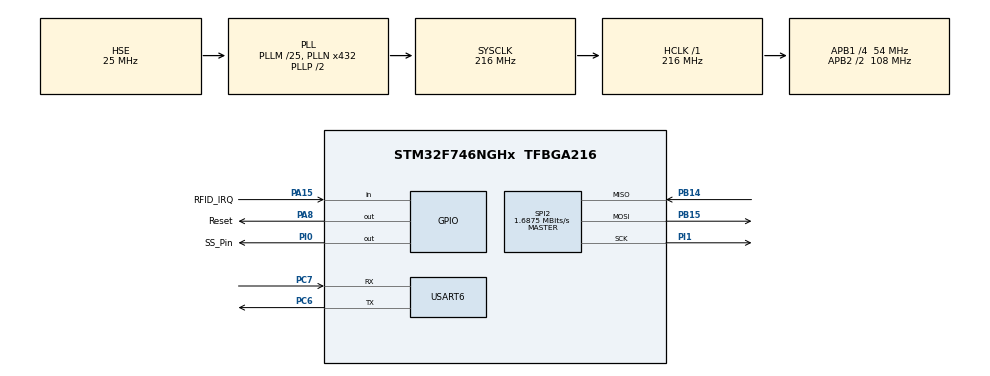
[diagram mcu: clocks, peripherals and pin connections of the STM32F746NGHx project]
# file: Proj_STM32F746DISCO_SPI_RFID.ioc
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Dma.Request0=USART6_RX
Dma.USART6_RX.0.Direction=DMA_PERIPH_TO_MEMORY
Dma.USART6_RX.0.FIFOMode=DMA_FIFOMODE_DISABLE
Dma.USART6_RX.0.Instance=DMA2_Stream1
Dma.USART6_RX.0.MemDataAlignment=DMA_MDATAALIGN_WORD
Dma.USART6_RX.0.MemInc=DMA_MINC_ENABLE
Dma.USART6_RX.0.Mode=DMA_NORMAL
Dma.USART6_RX.0.PeriphDataAlignment=DMA_PDATAALIGN_WORD
Dma.USART6_RX.0.PeriphInc=DMA_PINC_DISABLE
Dma.USART6_RX.0.Priority=DMA_PRIORITY_LOW
Mcu.Family=STM32F7
Mcu.Name=STM32F746NGHx
Mcu.Package=TFBGA216
NVIC.DMA2_Stream1_IRQn=true\:0\:0\:false\:false\:true\:false\:true\:true
NVIC.PriorityGroup=NVIC_PRIORITYGROUP_4
NVIC.USART6_IRQn=true\:0\:0\:false\:false\:true\:true\:true\:true
PA13.Mode=Serial_Wire
PA13.Signal=SYS_JTMS-SWDIO
PA14.Mode=Serial_Wire
PA14.Signal=SYS_JTCK-SWCLK
PA15.GPIO_Label=RFID_IRQ
PA15.Signal=GPIO_Input
PA8.GPIO_Label=Reset
PA8.Signal=GPIO_Output
PB14.Mode=Full_Duplex_Master
PB14.Signal=SPI2_MISO
PB15.Mode=Full_Duplex_Master
PB15.Signal=SPI2_MOSI
PC6.Mode=Asynchronous
PC6.Signal=USART6_TX
PC7.Mode=Asynchronous
PC7.Signal=USART6_RX
PH0/OSC_IN.Mode=HSE-External-Oscillator
PH0/OSC_IN.Signal=RCC_OSC_IN
PH1/OSC_OUT.Mode=HSE-External-Oscillator
PH1/OSC_OUT.Signal=RCC_OSC_OUT
PI0.GPIO_Label=SS_Pin
PI0.Signal=GPIO_Output
PI1.Mode=Full_Duplex_Master
PI1.Signal=SPI2_SCK
ProjectManager.HeapSize=0x200
ProjectManager.StackSize=0x400
ProjectManager.TargetToolchain=STM32CubeIDE
RCC.AHBFreq_Value=216000000
RCC.APB1CLKDivider=RCC_HCLK_DIV4
RCC.APB1Freq_Value=54000000
RCC.APB1TimFreq_Value=108000000
RCC.APB2CLKDivider=RCC_HCLK_DIV2
RCC.APB2Freq_Value=108000000
RCC.APB2TimFreq_Value=216000000
RCC.CortexFreq_Value=216000000
RCC.HCLKFreq_Value=216000000
RCC.HSE_VALUE=25000000
RCC.HSI_VALUE=16000000
RCC.LSE_VALUE=32768
RCC.PLL48CLockSelection=RCC_CLK48SOURCE_PLLSAIP
RCC.PLLI2SN=100
RCC.PLLM=25
RCC.PLLN=432
RCC.PLLQ=9
RCC.PLLSAIN=384
RCC.PLLSAIP=RCC_PLLSAIP_DIV8
RCC.PLLSAIR=5
RCC.PLLSAIRDiv=RCC_PLLSAIDIVR_8
RCC.PLLSourceVirtual=RCC_PLLSOURCE_HSE
RCC.PREFETCH_ENABLE=1
RCC.SDMMCClockSelection=RCC_SDMMC1CLKSOURCE_CLK48
RCC.SYSCLKFreq_VALUE=216000000
RCC.SYSCLKSource=RCC_SYSCLKSOURCE_PLLCLK
RCC.USBFreq_Value=48000000
RCC.VCOOutputFreq_Value=432000000
SPI2.BaudRatePrescaler=SPI_BAUDRATEPRESCALER_32
SPI2.CalculateBaudRate=1.6875 MBits/s
SPI2.DataSize=SPI_DATASIZE_8BIT
SPI2.Direction=SPI_DIRECTION_2LINES
SPI2.FirstBit=SPI_FIRSTBIT_LSB
SPI2.Mode=SPI_MODE_MASTER
SPI2.VirtualType=VM_MASTER
USART6.VirtualMode-Asynchronous=VM_ASYNC
board=STM32F746G-DISCO

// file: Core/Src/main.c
/* USER CODE BEGIN Header */
/**
  ******************************************************************************
  * @file           : main.c
  * @brief          : Main program body
  ******************************************************************************
  * @attention
  *
  * Copyright (c) 2022 STMicroelectronics.
  * All rights reserved.
  *
  * This software is licensed under terms that can be found in the LICENSE file
  * in the root directory of this software component.
  * If no LICENSE file comes with this software, it is provided AS-IS.
  *
  ******************************************************************************
  */
/* USER CODE END Header */
#include "main.h"

/* USER CODE BEGIN Includes */
#include <stdio.h>
#include <string.h>
#include </usr/include/mysql/mysql.h>
#include "pn532_stm32f7.h"

/* USER CODE END Includes */

/* USER CODE BEGIN PTD */

/*
 * SS =PD5
 * SCK=PD13
 * MISO =PD12
 * MOSI =PD11
 */

/* USER CODE END PTD */

/* USER CODE BEGIN PM */
#define use_HEXADECIMAL

/* USER CODE END PM */

SPI_HandleTypeDef hspi2;

UART_HandleTypeDef huart6;
DMA_HandleTypeDef hdma_usart6_rx;

/* USER CODE BEGIN PV */

//data uid
uint8_t buff[255];
uint8_t uid[MIFARE_UID_MAX_LENGTH];
int32_t uid_len = 0;

int flag =0;

/* USER CODE END PV */

void SystemClock_Config(void);
static void MX_GPIO_Init(void);
static void MX_DMA_Init(void);
static void MX_SPI2_Init(void);
static void MX_USART6_UART_Init(void);

/* USER CODE BEGIN 0 */
char buffer[50];
uint8_t timer_count = 0, buffer_index = 0;

uint8_t string_compare(char array1[], char array2[], uint16_t length)
{
	 uint8_t comVAR=0, i;
	 for(i=0;i<length;i++)
	   	{
	   		  if(array1[i]==array2[i])
	   	  		  comVAR++;
	   	  	  else comVAR=0;
	   	}
	 if (comVAR==length)
		 	return 1;
	 else 	return 0;
}

void Message_handler()
{
	if(string_compare(buffer, "LED ON", strlen("LED ON")))
	{
		HAL_UART_Transmit(&huart6, (uint8_t*)"LED is ON.\n", strlen("LED is ON.\n"), 500);
	}else
	if(string_compare(buffer, "LED OFF", strlen("LED OFF")))
	{
		HAL_UART_Transmit(&huart6, (uint8_t*)"LED is OFF.\n", strlen("LED is OFF.\n"), 500);
	}else
	{
		strcat(buffer, "\n");
		HAL_UART_Transmit(&huart6, (uint8_t*)buffer, strlen(buffer), 500);
	}

	memset(buffer, 0, sizeof(buffer));
	buffer_index = 0;
	timer_count = 0;
}

/* USER CODE END 0 */

int main(void)
{

  /* MCU Configuration--------------------------------------------------------*/

  /* Reset of all peripherals, Initializes the Flash interface and the Systick. */
  HAL_Init();

  /* Configure the system clock */
  SystemClock_Config();

  /* Initialize all configured peripherals */
  MX_GPIO_Init();
  MX_DMA_Init();
  MX_SPI2_Init();
  MX_USART6_UART_Init();
  /* USER CODE BEGIN 2 */
  HAL_Delay(200);
  memset(buffer, 0, sizeof(buffer));
  __HAL_UART_ENABLE_IT(&huart6, UART_IT_RXNE);

  printf("Hello!\r\n");
  PN532 pn532;
  PN532_SPI_Init(&pn532); //PN532 init
  //PN532_I2C_Init(&pn532);
  PN532_GetFirmwareVersion(&pn532, buff);
  if (PN532_GetFirmwareVersion(&pn532, buff) == PN532_STATUS_OK) {
    printf("Found PN532 with firmware version: %d.%d\r\n", buff[1], buff[2]);
  } else {
    return -1;
  }

  PN532_SamConfiguration(&pn532);
  printf("Waiting for RFID/NFC card...\r\n");

  /* USER CODE END 2 */

  /* Infinite loop */
  while (1)
  {

    /* USER CODE BEGIN 3 */
	// Check if a card is available to read
	memset(uid,0, sizeof(uid));
	uid_len = PN532_ReadPassiveTarget(&pn532, uid, PN532_MIFARE_ISO14443A, 1000);
	if (uid_len != PN532_STATUS_ERROR) {
    	memset(buffer, 0, sizeof(buffer));
    	char stringForHex[5];
		printf("Found card with UID: ");
		for (uint8_t i = 0; i < uid_len; i++) {
			memset(stringForHex,0, sizeof(stringForHex));
			#ifdef use_HEXADECIMAL
			sprintf(stringForHex,"%02x", (unsigned char)uid[i]);
			#else
			sprintf(stringForHex,"%d",(unsigned char)uid[i]);
			#endif
			strcat(buffer,stringForHex);
			printf("%02x ", uid[i]);
	     }
		buffer[strlen(buffer)-1]='\n';
		HAL_UART_Transmit(&huart6, (uint8_t*)buffer, strlen(buffer), HAL_MAX_DELAY);
		printf("\r\n");
		HAL_Delay(1000);
	}
	HAL_Delay(1);
  }
  /* USER CODE END 3 */
}

void SystemClock_Config(void)
{
  RCC_OscInitTypeDef RCC_OscInitStruct = {0};
  RCC_ClkInitTypeDef RCC_ClkInitStruct = {0};

  /** Configure the main internal regulator output voltage
  */
  __HAL_RCC_PWR_CLK_ENABLE();
  __HAL_PWR_VOLTAGESCALING_CONFIG(PWR_REGULATOR_VOLTAGE_SCALE1);

  /** Initializes the RCC Oscillators according to the specified parameters
  * in the RCC_OscInitTypeDef structure.
  */
  RCC_OscInitStruct.OscillatorType = RCC_OSCILLATORTYPE_HSE;
  RCC_OscInitStruct.HSEState = RCC_HSE_ON;
  RCC_OscInitStruct.PLL.PLLState = RCC_PLL_ON;
  RCC_OscInitStruct.PLL.PLLSource = RCC_PLLSOURCE_HSE;
  RCC_OscInitStruct.PLL.PLLM = 25;
  RCC_OscInitStruct.PLL.PLLN = 432;
  RCC_OscInitStruct.PLL.PLLP = RCC_PLLP_DIV2;
  RCC_OscInitStruct.PLL.PLLQ = 9;
  if (HAL_RCC_OscConfig(&RCC_OscInitStruct) != HAL_OK)
  {
    Error_Handler();
  }

  /** Activate the Over-Drive mode
  */
  if (HAL_PWREx_EnableOverDrive() != HAL_OK)
  {
    Error_Handler();
  }

  /** Initializes the CPU, AHB and APB buses clocks
  */
  RCC_ClkInitStruct.ClockType = RCC_CLOCKTYPE_HCLK|RCC_CLOCKTYPE_SYSCLK
                              |RCC_CLOCKTYPE_PCLK1|RCC_CLOCKTYPE_PCLK2;
  RCC_ClkInitStruct.SYSCLKSource = RCC_SYSCLKSOURCE_PLLCLK;
  RCC_ClkInitStruct.AHBCLKDivider = RCC_SYSCLK_DIV1;
  RCC_ClkInitStruct.APB1CLKDivider = RCC_HCLK_DIV4;
  RCC_ClkInitStruct.APB2CLKDivider = RCC_HCLK_DIV2;

  if (HAL_RCC_ClockConfig(&RCC_ClkInitStruct, FLASH_LATENCY_7) != HAL_OK)
  {
    Error_Handler();
  }
}

static void MX_SPI2_Init(void)
{

  /* SPI2 parameter configuration*/
  hspi2.Instance = SPI2;
  hspi2.Init.Mode = SPI_MODE_MASTER;
  hspi2.Init.Direction = SPI_DIRECTION_2LINES;
  hspi2.Init.DataSize = SPI_DATASIZE_8BIT;
  hspi2.Init.CLKPolarity = SPI_POLARITY_LOW;
  hspi2.Init.CLKPhase = SPI_PHASE_1EDGE;
  hspi2.Init.NSS = SPI_NSS_SOFT;
  hspi2.Init.BaudRatePrescaler = SPI_BAUDRATEPRESCALER_32;
  hspi2.Init.FirstBit = SPI_FIRSTBIT_LSB;
  hspi2.Init.TIMode = SPI_TIMODE_DISABLE;
  hspi2.Init.CRCCalculation = SPI_CRCCALCULATION_DISABLE;
  hspi2.Init.CRCPolynomial = 7;
  hspi2.Init.CRCLength = SPI_CRC_LENGTH_DATASIZE;
  hspi2.Init.NSSPMode = SPI_NSS_PULSE_ENABLE;
  if (HAL_SPI_Init(&hspi2) != HAL_OK)
  {
    Error_Handler();
  }

}

static void MX_USART6_UART_Init(void)
{

  huart6.Instance = USART6;
  huart6.Init.BaudRate = 115200;
  huart6.Init.WordLength = UART_WORDLENGTH_8B;
  huart6.Init.StopBits = UART_STOPBITS_1;
  huart6.Init.Parity = UART_PARITY_NONE;
  huart6.Init.Mode = UART_MODE_TX_RX;
  huart6.Init.HwFlowCtl = UART_HWCONTROL_NONE;
  huart6.Init.OverSampling = UART_OVERSAMPLING_16;
  huart6.Init.OneBitSampling = UART_ONE_BIT_SAMPLE_DISABLE;
  huart6.AdvancedInit.AdvFeatureInit = UART_ADVFEATURE_NO_INIT;
  if (HAL_UART_Init(&huart6) != HAL_OK)
  {
    Error_Handler();
  }

}

static void MX_DMA_Init(void)
{

  /* DMA controller clock enable */
  __HAL_RCC_DMA2_CLK_ENABLE();

  /* DMA interrupt init */
  /* DMA2_Stream1_IRQn interrupt configuration */
  HAL_NVIC_SetPriority(DMA2_Stream1_IRQn, 0, 0);
  HAL_NVIC_EnableIRQ(DMA2_Stream1_IRQn);

}

static void MX_GPIO_Init(void)
{
  GPIO_InitTypeDef GPIO_InitStruct = {0};

  /* GPIO Ports Clock Enable */
  __HAL_RCC_GPIOA_CLK_ENABLE();
  __HAL_RCC_GPIOI_CLK_ENABLE();
  __HAL_RCC_GPIOH_CLK_ENABLE();
  __HAL_RCC_GPIOC_CLK_ENABLE();
  __HAL_RCC_GPIOB_CLK_ENABLE();

  /*Configure GPIO pin Output Level */
  HAL_GPIO_WritePin(SS_Pin_GPIO_Port, SS_Pin_Pin, GPIO_PIN_RESET);

  /*Configure GPIO pin Output Level */
  HAL_GPIO_WritePin(Reset_GPIO_Port, Reset_Pin, GPIO_PIN_RESET);

  /*Configure GPIO pin : RFID_IRQ_Pin */
  GPIO_InitStruct.Pin = RFID_IRQ_Pin;
  GPIO_InitStruct.Mode = GPIO_MODE_INPUT;
  GPIO_InitStruct.Pull = GPIO_NOPULL;
  HAL_GPIO_Init(RFID_IRQ_GPIO_Port, &GPIO_InitStruct);

  /*Configure GPIO pin : SS_Pin_Pin */
  GPIO_InitStruct.Pin = SS_Pin_Pin;
  GPIO_InitStruct.Mode = GPIO_MODE_OUTPUT_PP;
  GPIO_InitStruct.Pull = GPIO_NOPULL;
  GPIO_InitStruct.Speed = GPIO_SPEED_FREQ_LOW;
  HAL_GPIO_Init(SS_Pin_GPIO_Port, &GPIO_InitStruct);

  /*Configure GPIO pin : Reset_Pin */
  GPIO_InitStruct.Pin = Reset_Pin;
  GPIO_InitStruct.Mode = GPIO_MODE_OUTPUT_PP;
  GPIO_InitStruct.Pull = GPIO_NOPULL;
  GPIO_InitStruct.Speed = GPIO_SPEED_FREQ_LOW;
  HAL_GPIO_Init(Reset_GPIO_Port, &GPIO_InitStruct);

}

/* USER CODE BEGIN 4 */
#ifdef __GNUC__
  /* With GCC/RAISONANCE, small printf (option LD Linker->Libraries->Small printf
     set to 'Yes') calls __io_putchar() */
  #define PUTCHAR_PROTOTYPE int __io_putchar(int ch)
#else
  #define PUTCHAR_PROTOTYPE int fputc(int ch, FILE *f)
#endif /* __GNUC__ */
/**
  * @brief  Retargets the C library printf function to the USART.
  * @param  None
  * @retval None
  */
PUTCHAR_PROTOTYPE
{
  /* Place your implementation of fputc here */
  /* e.g. write a character to the EVAL_COM1 and Loop until the end of transmission */
	HAL_UART_Transmit(&huart6, (uint8_t *)&ch, 1, 0xFFFF);
  return ch;
}

/* USER CODE END 4 */

void Error_Handler(void)
{
  __disable_irq();
  while (1)
  {
  }
}
